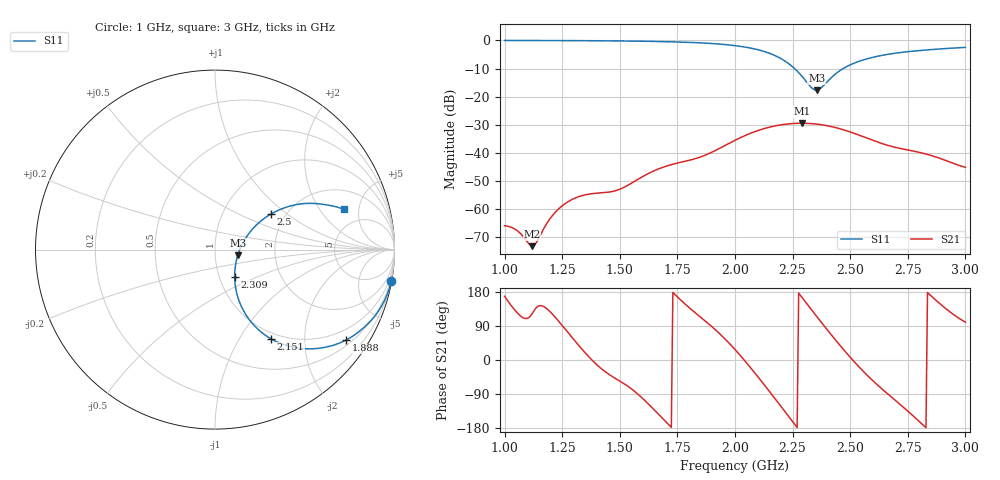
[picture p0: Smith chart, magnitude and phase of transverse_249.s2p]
! TOUCHSTONE file generated by CST MICROWAVE STUDIO
! Date and time: Tue Mar 11 13:58:01 2025
! Project name: transverse.cst
! Parameters = {Fracture=1; B=10; D=160; F=25; Feed=2.85625; L=100; M=30; R=0.384908; S=1; Theta=270; length=57.125; wave=114.25}
! Header version: 2024
! Port assignment regex: !\s*Touchstone port\s*([0-9]+)\s*=\s*(CST MWS port|CST DES external port|CST DES block port)\s*(.+)\s* \(\"(.*)\"\)(\s*mode\s*([0-9]+))?.*
! Touchstone port assignment:
! Touchstone port 1 = CST MWS port 1 ("")
! Touchstone port 2 = CST MWS port 2 ("")
# GHz S MA R 50
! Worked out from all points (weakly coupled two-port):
!   305 points, 1 GHz to 3 GHz, reference 50 ohm
!   highest |S21| = -29.42 dB at 2.289 GHz (marker M1); lowest = -73.1 dB at 1.118 GHz (marker M2)
!   lowest |S11| = -17.7 dB at 2.355 GHz (marker M3), VSWR 1.30, Z = 64.4 - j4.1 ohm
!   |S11| at or under -10 dB: 2.259 GHz to 2.47 GHz (211 MHz wide, 8.92 % of centre)
!   S12 and S22 are empty: the file has one direction only
!   S11 on the Smith chart (normalised r, x): 1 GHz: 0, -11; 1.888 GHz: 0.65, -3.08; 2.151 GHz: 0.91, -1.38; 2.309 GHz: 1.18, -0.37; 2.5 GHz: 1.68, +0.77; 3 GHz: 3.34, +3.44
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1  0.9976 -10.0  0.0005119 168.0  0 0.0  0 0.0
1.05263  0.9971 -10.7  0.0004239 125.9  0 0.0  0 0.0
1.11842  0.9962 -11.7  0.0002217 121.3  0 0.0  0 0.0
1.13816  0.9958 -12.0  0.000257 138.5  0 0.0  0 0.0
1.18421  0.9945 -12.7  0.0005711 134.9  0 0.0  0 0.0
1.22368  0.9933 -13.4  0.0009213 110.1  0 0.0  0 0.0
1.27632  0.9916 -14.3  0.001374 71.6  0 0.0  0 0.0
1.33553  0.9893 -15.5  0.00175 28.7  0 0.0  0 0.0
1.49342  0.9783 -19.1  0.002223 -53.2  0 0.0  0 0.0
1.67105  0.9547 -24.5  0.00528 -145.0  0 0.0  0 0.0
1.88816  0.887 -34.6  0.009832 94.0  0 0.0  0 0.0
2  0.8071 -42.7  0.01683 27.7  0 0.0  0 0.0
2.15132  0.5866 -57.9  0.0289 -84.3  0 0.0  0 0.0
2.22368  0.4116 -64.4  0.03266 -141.5  0 0.0  0 0.0
2.28947  0.2335 -60.9  0.03381 166.2  0 0.0  0 0.0
2.30921  0.186 -53.9  0.03369 150.5  0 0.0  0 0.0
2.33553  0.1406 -35.0  0.03319 129.8  0 0.0  0 0.0
2.35526  0.1307 -13.8  0.03259 114.4  0 0.0  0 0.0
2.5  0.3681 32.4  0.02367 7.3  0 0.0  0 0.0
2.67105  0.5723 26.7  0.01338 -93.7  0 0.0  0 0.0
2.84211  0.6825 21.2  0.009284 174.1  0 0.0  0 0.0
3  0.7513 17.4  0.005586 99.7  0 0.0  0 0.0
